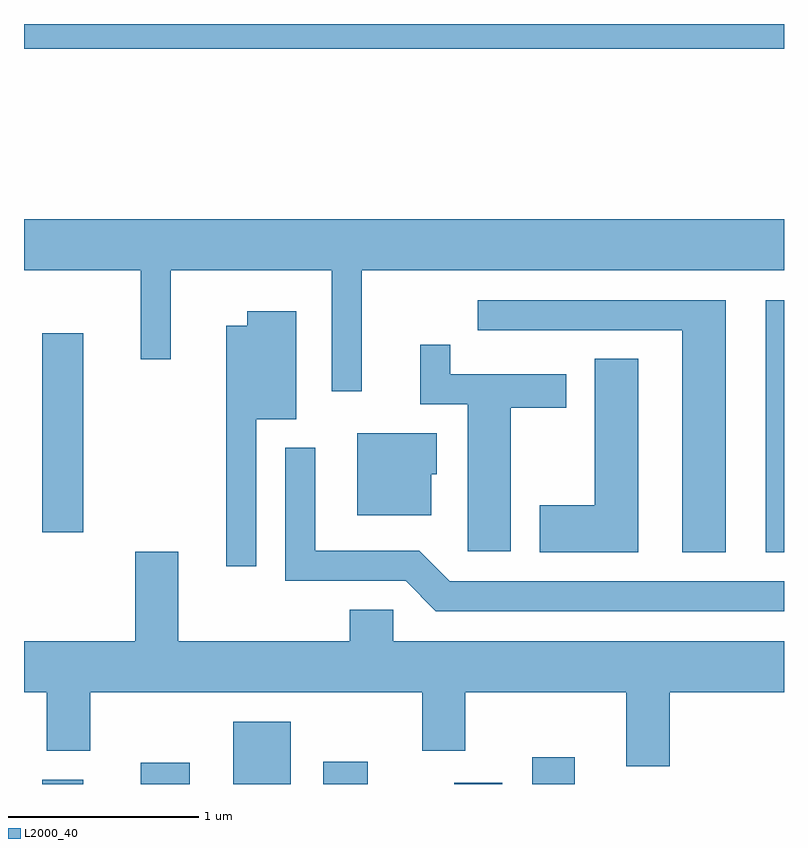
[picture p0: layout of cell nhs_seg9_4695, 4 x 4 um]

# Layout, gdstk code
import gdstk
lib = gdstk.Library(unit=1e-6, precision=1e-09)
def R(c, l, rs):  # rectangles x0, y0, x1, y1
    for r in rs: c.add(gdstk.rectangle(r[:2], r[2:], *l))
def P(c, l, *ps):  # polygons
    for p in ps: c.add(gdstk.Polygon(p, *l))
L2000_40 = (2000, 40)

nhs_seg9_4695 = lib.new_cell('nhs_seg9_4695')
R(nhs_seg9_4695, L2000_40, [(323.706,2002.432,323.924,2002.454), (324.226,2002.432,324.484,2002.544), (324.711,2002.432,325.014,2002.759), (325.186,2002.432,325.419,2002.549), (325.876,2002.432,326.129,2002.439), (326.286,2002.432,326.509,2002.574), (327.516,2003.651,327.611,2004.979), (323.706,2003.756,323.924,2004.804), (323.611,2006.301,327.611,2006.432)])
P(nhs_seg9_4695, L2000_40, [(325.389,2005.136),(327.611,2005.136),(327.611,2005.404),(323.611,2005.404),(323.611,2005.136),(324.226,2005.136),(324.226,2004.668),(324.384,2004.668),(324.384,2005.136),(325.231,2005.136),(325.231,2004.498),(325.389,2004.498)],
  [(327.304,2004.979),(325.998,2004.979),(325.998,2004.821),(327.076,2004.821),(327.076,2003.651),(327.304,2003.651)],
  [(324.834,2004.351),(325.044,2004.351),(325.044,2004.919),(324.786,2004.919),(324.786,2004.844),(324.676,2004.844),(324.676,2003.578),(324.834,2003.578)],
  [(326.174,2004.411),(326.464,2004.411),(326.464,2004.589),(325.854,2004.589),(325.854,2004.743),(325.696,2004.743),(325.696,2004.431),(325.946,2004.431),(325.946,2003.656),(326.174,2003.656)],
  [(326.844,2004.669),(326.616,2004.669),(326.616,2003.899),(326.326,2003.899),(326.326,2003.651),(326.844,2003.651)],
  [(325.754,2004.061),(325.784,2004.061),(325.784,2004.279),(325.366,2004.279),(325.366,2003.846),(325.754,2003.846)],
  [(327.611,2003.499),(325.852,2003.499),(325.692,2003.659),(325.144,2003.659),(325.144,2004.203),(324.986,2004.203),(324.986,2003.501),(325.619,2003.501),(325.779,2003.341),(327.611,2003.341)],
  [(327.009,2002.916),(327.611,2002.916),(327.611,2003.184),(325.554,2003.184),(325.554,2003.349),(325.326,2003.349),(325.326,2003.184),(324.424,2003.184),(324.424,2003.654),(324.196,2003.654),(324.196,2003.184),(323.611,2003.184),(323.611,2002.916),(323.731,2002.916),(323.731,2002.606),(323.959,2002.606),(323.959,2002.916),(325.706,2002.916),(325.706,2002.606),(325.934,2002.606),(325.934,2002.916),(326.781,2002.916),(326.781,2002.526),(327.009,2002.526)])

lib.write_gds('nhs_seg9_4695.gds')
